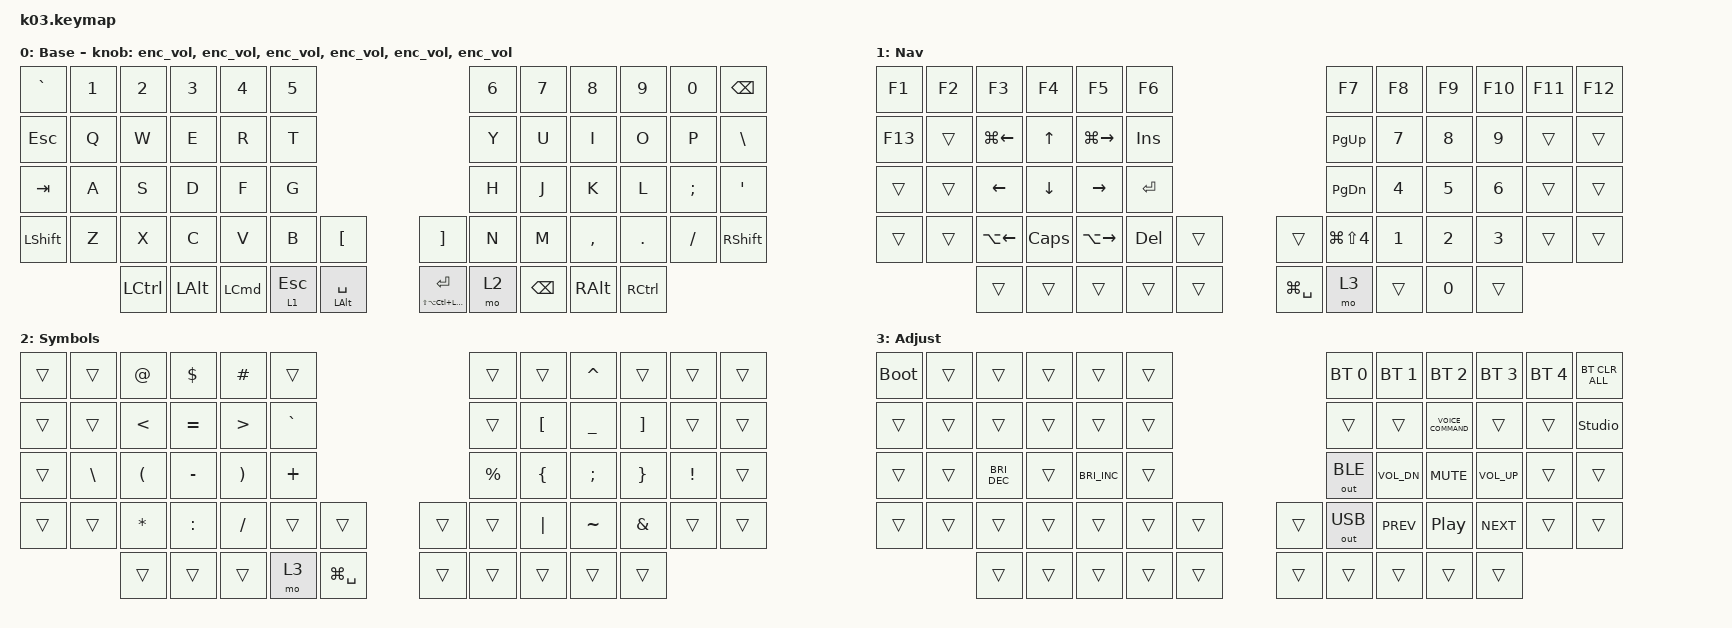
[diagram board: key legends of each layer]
#include "keys_ru.h"
#include <behaviors.dtsi>
#include <dt-bindings/zmk/bt.h>
#include <dt-bindings/zmk/keys.h>
#include <dt-bindings/zmk/outputs.h>

/ {
    behaviors {
        enc_vol: enc_vol {
            compatible = "zmk,behavior-sensor-rotate";
            label = "ENC_VOL";
            #sensor-binding-cells = <0>;
            bindings = <&kp C_VOL_UP>, <&kp C_VOL_DN>;
        };
    };

    macros {
        screen: screen {
            compatible = "zmk,behavior-macro";
            #binding-cells = <0>;
            bindings = <&kp LEFT_COMMAND &kp LEFT_SHIFT &kp NUMBER_4>;
            label = "SCREEN";
        };

        hyper: hyper {
            compatible = "zmk,behavior-macro";
            #binding-cells = <0>;
            bindings = <&kp LS(LA(LC(LEFT_GUI)))>;
            label = "HYPER";
        };
    };

    keymap {
        compatible = "zmk,keymap";

        base {
            bindings = <
&kp GRAVE  &kp N1  &kp N2     &kp N3        &kp N4            &kp N5                                                           &kp N6  &kp N7         &kp N8         &kp N9     &kp N0    &kp BSPC
&kp ESC    &kp Q   &kp W      &kp E         &kp R             &kp T                                                            &kp Y   &kp U          &kp I          &kp O      &kp P     &kp BSLH
&kp TAB    &kp A   &kp S      &kp D         &kp F             &kp G                                                            &kp H   &kp J          &kp K          &kp L      &kp SEMI  &kp SQT
&kp LSHFT  &kp Z   &kp X      &kp C         &kp V             &kp B      &kp LBKT              &kp RBKT                        &kp N   &kp M          &kp COMMA      &kp DOT    &kp FSLH  &kp RSHFT
                   &kp LCTRL  &kp LEFT_ALT  &kp LEFT_COMMAND  &lt 1 ESC  &mt LEFT_ALT SPACE    &mt LS(LA(LC(LEFT_GUI))) ENTER  &mo 2   &kp BACKSPACE  &kp RIGHT_ALT  &kp RCTRL
            >;

            display-name = "Base";
            sensor-bindings =
                <&enc_vol>,
                <&enc_vol>,
                <&enc_vol>,
                <&enc_vol>,
                <&enc_vol>,
                <&enc_vol>;
        };

        nav {
            bindings = <
&kp F1   &kp F2  &kp F3              &kp F4    &kp F5         &kp F6                            &kp F7                &kp F8  &kp F9  &kp F10  &kp F11  &kp F12
&kp F13  &trans  &kp LG(LEFT_ARROW)  &kp UP    &kp LG(RIGHT)  &kp INS                           &kp PG_UP             &kp N7  &kp N8  &kp N9   &trans   &trans
&trans   &trans  &kp LEFT            &kp DOWN  &kp RIGHT      &kp RET                           &kp PG_DN             &kp N4  &kp N5  &kp N6   &trans   &trans
&trans   &trans  &kp LA(LEFT)        &kp CAPS  &kp LA(RIGHT)  &kp DEL  &trans    &trans         &kp LG(LS(NUMBER_4))  &kp N1  &kp N2  &kp N3   &trans   &trans
                 &trans              &trans    &trans         &trans   &trans    &kp LG(SPACE)  &mo 3                 &trans  &kp N0  &trans
            >;

            display-name = "Nav";
        };

        sym {
            bindings = <
&trans  &trans    &kp AT    &kp DLLR   &kp HASH  &trans                              &trans     &trans    &kp CARET  &trans    &trans    &trans
&trans  &trans    &kp LT    &kp EQUAL  &kp GT    &kp GRAVE                           &trans     &kp LBKT  &kp UNDER  &kp RBKT  &trans    &trans
&trans  &kp BSLH  &kp LPAR  &kp MINUS  &kp RPAR  &kp PLUS                            &kp PRCNT  &kp LBRC  &kp SEMI   &kp RBRC  &kp EXCL  &trans
&trans  &trans    &kp STAR  &kp COLON  &kp FSLH  &trans     &trans           &trans  &trans     &kp PIPE  &kp TILDE  &kp AMPS  &trans    &trans
                  &trans    &trans     &trans    &mo 3      &kp LG(SPACE)    &trans  &trans     &trans    &trans     &trans
            >;

            display-name = "Symbols";
        };

        adj {
            bindings = <
&bootloader  &trans  &trans                &trans  &trans                &trans                    &bt BT_SEL 0  &bt BT_SEL 1  &bt BT_SEL 2         &bt BT_SEL 3  &bt BT_SEL 4  &bt BT_CLR_ALL
&trans       &trans  &trans                &trans  &trans                &trans                    &trans        &trans        &kp C_VOICE_COMMAND  &trans        &trans        &studio_unlock
&trans       &trans  &kp C_BRIGHTNESS_DEC  &trans  &kp C_BRIGHTNESS_INC  &trans                    &out OUT_BLE  &kp C_VOL_DN  &kp C_MUTE           &kp C_VOL_UP  &trans        &trans
&trans       &trans  &trans                &trans  &trans                &trans  &trans    &trans  &out OUT_USB  &kp C_PREV    &kp C_PLAY_PAUSE     &kp C_NEXT    &trans        &trans
                     &trans                &trans  &trans                &trans  &trans    &trans  &trans        &trans        &trans               &trans
            >;

            display-name = "Adjust";
        };
    };
};
